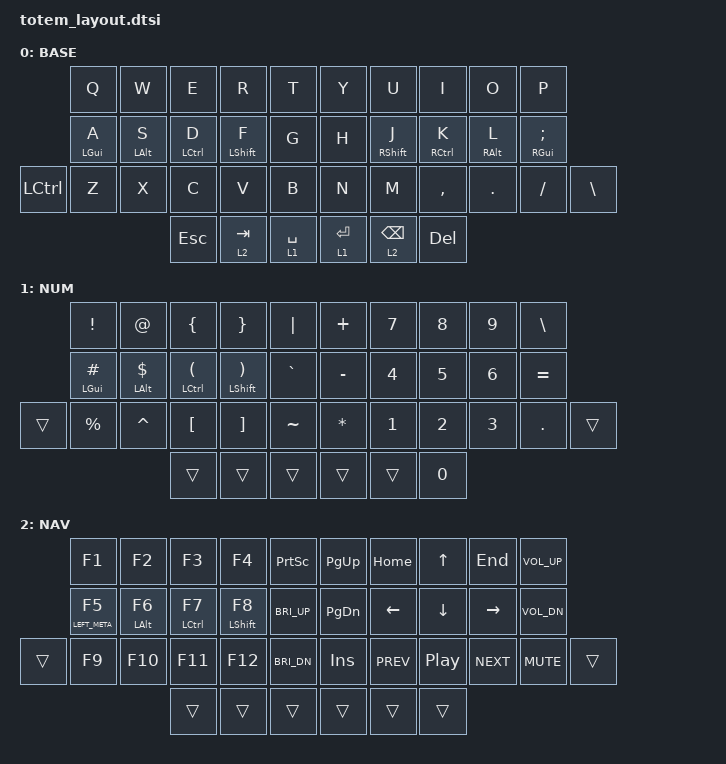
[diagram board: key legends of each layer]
//
//                                                        ▀▀▀▀▀     ▀▀▀▀▀          ▀▀█▀▀
//                                                        ▄▀▀▀▄  ▄  ▄▀▀▀▄  ▄  ▄▀▀▀▄  █  ▄▀▀▀▄
//                                                        █   █  █  █   █  █  █   █  █  █   █
//                                                         ▀▀▀   █   ▀▀▀   █   ▀▀▀   ▀   ▀▀▀
//                                                               █      ▄▄▄█▄▄▄    █   █  
//                                                               ▀      █  █  █     █▄█
//                                                             ▀▀▀▀▀    █  █  █      ▀
//                                                                      ▀  ▀  ▀
//
// ▄▄▄▄▄▄▄▄▄▄▄▄▄▄▄▄▄▄▄▄▄▄▄▄▄▄▄▄▄▄▄▄▄▄▄▄▄▄▄▄▄▄▄▄▄▄▄▄▄▄▄▄▄▄▄▄▄▄▄▄▄▄▄▄▄▄▄▄▄▄▄▄▄▄▄▄▄▄▄▄▄▄▄▄▄▄▄▄▄▄▄▄▄▄▄▄▄▄▄▄▄▄▄▄▄▄▄▄▄▄▄▄▄▄▄▄▄▄▄▄▄▄▄▄▄▄▄▄▄▄▄▄▄▄▄▄▄▄▄▄▄▄▄▄▄▄▄▄▄
       

#include <behaviors.dtsi>
#include <dt-bindings/zmk/keys.h>
#include <dt-bindings/zmk/bt.h>
#include <dt-bindings/zmk/outputs.h>

#define BASE 0
#define NUM  1
#define NAV  2

/ {
    
    behaviors {
      // Home-row mods. require-prior-idle-ms is the knob that stops
      // fast-rolling typos from firing modifiers.

      hm: homerow_mods {
          compatible = "zmk,behavior-hold-tap";
          #binding-cells = <2>;
          flavor = "balanced";
          tapping-term-ms = <200>;
          quick-tap-ms = <175>;
          require-prior-idle-ms = <125>;
          bindings = <&kp>, <&kp>;
      };
    };
    keymap {
        compatible = "zmk,keymap";
// ▄▄▄▄▄▄▄▄▄▄▄▄▄▄▄▄▄▄▄▄▄▄▄▄▄▄▄▄▄▄▄▄▄▄▄▄▄▄▄▄▄▄▄▄▄▄▄▄▄▄▄▄▄▄▄▄▄▄▄▄▄▄▄▄▄▄▄▄▄▄▄▄▄▄▄▄▄▄▄▄▄▄▄▄▄▄▄▄▄▄▄▄▄▄▄▄▄▄▄▄▄▄▄▄▄▄▄▄▄▄▄▄▄▄▄▄▄▄▄▄▄▄▄▄▄▄▄▄▄▄▄▄▄▄▄▄▄▄▄▄▄▄▄▄▄▄▄▄▄

                base_layer {
// ┏━━━━━━━━━━━━━━━━━━━━━━━━━━━━━━━━━━━━━━━┓
label= "BASE"                              ;
// ┗━━━━━━━━━━━━━━━━━━━━━━━━━━━━━━━━━━━━━━━┛
//             ┏━━━━━━━━━━━┳━━━━━━━━━━━┳━━━━━━━━━━━┳━━━━━━━━━━━┳━━━━━━━━━━━┓   ┏━━━━━━━━━━━┳━━━━━━━━━━━┳━━━━━━━━━━━┳━━━━━━━━━━━┳━━━━━━━━━━━┓
//             ┃     Q     ┃     W     ┃     F     ┃     P     ┃     G     ┃   ┃     J     ┃     L     ┃     U     ┃     Y     ┃     ;     ┃
//             ┣━━━━━━━━━━━╋━━━━━━━━━━━╋━━━━━━━━━━━╋━━━━━━━━━━━╋━━━━━━━━━━━┫   ┣━━━━━━━━━━━╋━━━━━━━━━━━╋━━━━━━━━━━━╋━━━━━━━━━━━╋━━━━━━━━━━━┫
//             ┃     A     ┃     R     ┃     S     ┃     T     ┃     D     ┃   ┃     H     ┃     N     ┃     E     ┃     I     ┃     O     ┃
// ┏━━━━━━━━━━━╋━━━━━━━━━━━╋━━━━━━━━━━━╋━━━━━━━━━━━╋━━━━━━━━━━━╋━━━━━━━━━━━┫   ┣━━━━━━━━━━━╋━━━━━━━━━━━╋━━━━━━━━━━━╋━━━━━━━━━━━╋━━━━━━━━━━━╋━━━━━━━━━━━┓
// ┃     Q     ┃     Z     ┃     X     ┃     C     ┃     V     ┃     B     ┃   ┃     K     ┃     M     ┃     ,     ┃     .     ┃     /     ┃     \     ┃
// ┗━━━━━━━━━━━┻━━━━━━━━━━━┻━━━━━━━━━━━╋━━━━━━━━━━━╋━━━━━━━━━━━╋━━━━━━━━━━━┫   ┣━━━━━━━━━━━╋━━━━━━━━━━━╋━━━━━━━━━━━╋━━━━━━━━━━━┻━━━━━━━━━━━┻━━━━━━━━━━━┛
//                                     ┃    DEL    ┃    TAB    ┃    SPC    ┃   ┃   ENTER   ┃           ┃   BSPC    ┃
//                                     ┗━━━━━━━━━━━┻━━━━━━━━━━━┻━━━━━━━━━━━┛   ┗━━━━━━━━━━━┻━━━━━━━━━━━┻━━━━━━━━━━━┛
 bindings = <
// ╷           ╷           ╷           ╷           ╷           ╷           ╷   ╷           ╷           ╷           ╷           ╷           ╷           ╷

                &kp Q       &kp W       &kp E        &kp R       &kp T           &kp Y      &kp U        &kp I       &kp O      &kp P
                &hm LGUI A  &hm LALT S  &hm LCTRL D  &hm LSHFT F &kp G           &kp H      &hm RSHFT J  &hm RCTRL K &hm RALT L &hm RGUI SEMI
    &kp LCTRL   &kp Z       &kp X       &kp C        &kp V       &kp B           &kp N      &kp M        &kp COMMA   &kp DOT    &kp FSLH    &kp BSLH 
                                        &kp ESC      &lt 2 TAB   &lt 1 SPACE     &lt 1 RET  &lt 2 BSPC   &kp DEL
                        >;
                };

// ▄▄▄▄▄▄▄▄▄▄▄▄▄▄▄▄▄▄▄▄▄▄▄▄▄▄▄▄▄▄▄▄▄▄▄▄▄▄▄▄▄▄▄▄▄▄▄▄▄▄▄▄▄▄▄▄▄▄▄▄▄▄▄▄▄▄▄▄▄▄▄▄▄▄▄▄▄▄▄▄▄▄▄▄▄▄▄▄▄▄▄▄▄▄▄▄▄▄▄▄▄▄▄▄▄▄▄▄▄▄▄▄▄▄▄▄▄▄▄▄▄▄▄▄▄▄▄▄▄▄▄▄▄▄▄▄▄▄▄▄▄▄▄▄▄▄▄▄▄


                num_layer {
// ┏━━━━━━━━━━━━━━━━━━━━━━━━━━━━━━━━━━━━━━━┓
label= "NUM"                              ;
// ┗━━━━━━━━━━━━━━━━━━━━━━━━━━━━━━━━━━━━━━━┛
//             ┏━━━━━━━━━━━┳━━━━━━━━━━━┳━━━━━━━━━━━┳━━━━━━━━━━━┳━━━━━━━━━━━┓   ┏━━━━━━━━━━━┳━━━━━━━━━━━┳━━━━━━━━━━━┳━━━━━━━━━━━┳━━━━━━━━━━━┓
//             ┃           ┃           ┃     UP    ┃           ┃     {     ┃   ┃     }     ┃     7     ┃     8     ┃     9     ┃     +     ┃
//             ┣━━━━━━━━━━━╋━━━━━━━━━━━╋━━━━━━━━━━━╋━━━━━━━━━━━╋━━━━━━━━━━━┫   ┣━━━━━━━━━━━╋━━━━━━━━━━━╋━━━━━━━━━━━╋━━━━━━━━━━━╋━━━━━━━━━━━┫
//             ┃   SHIFT   ┃   LEFT    ┃    DOWN   ┃   RIGHT   ┃     [     ┃   ┃     ]     ┃     4     ┃     5     ┃     6     ┃     -     ┃
// ┏━━━━━━━━━━━╋━━━━━━━━━━━╋━━━━━━━━━━━╋━━━━━━━━━━━╋━━━━━━━━━━━╋━━━━━━━━━━━┫   ┣━━━━━━━━━━━╋━━━━━━━━━━━╋━━━━━━━━━━━╋━━━━━━━━━━━╋━━━━━━━━━━━╋━━━━━━━━━━━┓
// ┃           ┃           ┃   P UP    ┃  C LOCK   ┃  P DOWN   ┃     (     ┃   ┃     )     ┃     1     ┃     2     ┃     3     ┃     *     ┃           ┃
// ┗━━━━━━━━━━━┻━━━━━━━━━━━┻━━━━━━━━━━━╋━━━━━━━━━━━╋━━━━━━━━━━━╋━━━━━━━━━━━┫   ┣━━━━━━━━━━━╋━━━━━━━━━━━╋━━━━━━━━━━━╋━━━━━━━━━━━┻━━━━━━━━━━━┻━━━━━━━━━━━┛
//                                     ┃           ┃    TAB    ┃    SPC    ┃   ┃    DEL    ┃     0     ┃           ┃
//                                     ┗━━━━━━━━━━━┻━━━━━━━━━━━┻━━━━━━━━━━━┛   ┗━━━━━━━━━━━┻━━━━━━━━━━━┻━━━━━━━━━━━┛
 bindings = <
// ╷           ╷           ╷           ╷           ╷           ╷           ╷   ╷           ╷           ╷           ╷           ╷           ╷           ╷

                &kp EXCL    &kp AT      &kp LBRC    &kp RBRC    &kp PIPE        &kp PLUS    &kp N7      &kp N8      &kp N9      &kp BSLH
     &hm LGUI HASH &hm LALT DLLR &hm LCTRL LPAR &hm LSHIFT RPAR &kp GRAVE       &kp MINUS   &kp N4      &kp N5      &kp N6      &kp EQUAL
    &trans      &kp PERCENT &kp CARET   &kp LBKT    &kp RBKT    &kp TILDE       &kp ASTRK   &kp N1      &kp N2      &kp N3      &kp DOT     &trans 
                                        &trans      &trans      &trans          &trans      &trans      &kp N0 
                        >;
                };

// ▄▄▄▄▄▄▄▄▄▄▄▄▄▄▄▄▄▄▄▄▄▄▄▄▄▄▄▄▄▄▄▄▄▄▄▄▄▄▄▄▄▄▄▄▄▄▄▄▄▄▄▄▄▄▄▄▄▄▄▄▄▄▄▄▄▄▄▄▄▄▄▄▄▄▄▄▄▄▄▄▄▄▄▄▄▄▄▄▄▄▄▄▄▄▄▄▄▄▄▄▄▄▄▄▄▄▄▄▄▄▄▄▄▄▄▄▄▄▄▄▄▄▄▄▄▄▄▄▄▄▄▄▄▄▄▄▄▄▄▄▄▄▄▄▄▄▄▄▄


                nav_layer {
// ┏━━━━━━━━━━━━━━━━━━━━━━━━━━━━━━━━━━━━━━━┓
label= "NAV"                               ;
// ┗━━━━━━━━━━━━━━━━━━━━━━━━━━━━━━━━━━━━━━━┛
//             ┏━━━━━━━━━━━┳━━━━━━━━━━━┳━━━━━━━━━━━┳━━━━━━━━━━━┳━━━━━━━━━━━┓   ┏━━━━━━━━━━━┳━━━━━━━━━━━┳━━━━━━━━━━━┳━━━━━━━━━━━┳━━━━━━━━━━━┓
//             ┃     !     ┃     @     ┃     #     ┃     $     ┃     %     ┃   ┃     ˆ     ┃     &     ┃     Ü     ┃     '     ┃     "     ┃
//             ┣━━━━━━━━━━━╋━━━━━━━━━━━╋━━━━━━━━━━━╋━━━━━━━━━━━╋━━━━━━━━━━━┫   ┣━━━━━━━━━━━╋━━━━━━━━━━━╋━━━━━━━━━━━╋━━━━━━━━━━━╋━━━━━━━━━━━┫
//             ┃     Ä     ┃           ┃    SZ     ┃           ┃           ┃   ┃   MUTE    ┃   YEN     ┃   EURO    ┃  POUND    ┃     Ö     ┃
// ┏━━━━━━━━━━━╋━━━━━━━━━━━╋━━━━━━━━━━━╋━━━━━━━━━━━╋━━━━━━━━━━━╋━━━━━━━━━━━┫   ┣━━━━━━━━━━━╋━━━━━━━━━━━╋━━━━━━━━━━━╋━━━━━━━━━━━╋━━━━━━━━━━━╋━━━━━━━━━━━┓
// ┃           ┃  EMAIL1   ┃  EMAIL2   ┃           ┃           ┃           ┃   ┃   VOL-    ┃   VOL+    ┃   LAST    ┃   NEXT    ┃     \     ┃           ┃
// ┗━━━━━━━━━━━┻━━━━━━━━━━━┻━━━━━━━━━━━╋━━━━━━━━━━━╋━━━━━━━━━━━╋━━━━━━━━━━━┫   ┣━━━━━━━━━━━╋━━━━━━━━━━━╋━━━━━━━━━━━╋━━━━━━━━━━━┻━━━━━━━━━━━┻━━━━━━━━━━━┛
//                                     ┃           ┃    GIF    ┃    ADJ    ┃   ┃           ┃           ┃           ┃
//                                     ┗━━━━━━━━━━━┻━━━━━━━━━━━┻━━━━━━━━━━━┛   ┗━━━━━━━━━━━┻━━━━━━━━━━━┻━━━━━━━━━━━┛
 bindings = <
// ╷           ╷           ╷           ╷           ╷           ╷           ╷   ╷           ╷           ╷           ╷           ╷           ╷           ╷

                &kp F1      &kp F2      &kp F3      &kp F4      &kp PSCRN       &kp PG_UP   &kp HOME    &kp UP      &kp END     &kp C_VOL_UP
&hm LEFT_META F5  &hm LEFT_ALT F6  &hm LCTRL F7  &hm LEFT_SHIFT F8 &kp C_BRI_UP &kp PG_DN   &kp LEFT    &kp DOWN    &kp RIGHT   &kp C_VOL_DN
    &trans      &kp F9      &kp F10     &kp F11     &kp F12     &kp C_BRI_DN    &kp INS     &kp C_PREV  &kp C_PP    &kp C_NEXT  &kp C_MUTE  &trans
                                        &trans      &trans      &trans          &trans      &trans      &trans
                        >;
                };
       };
};
